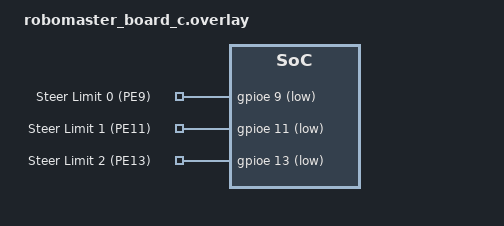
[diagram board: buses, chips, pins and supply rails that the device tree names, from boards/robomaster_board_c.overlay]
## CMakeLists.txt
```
# SPDX-License-Identifier: Apache-2.0

cmake_minimum_required(VERSION 3.20.0)
set(CMAKE_CXX_STANDARD 17)
find_package(Zephyr REQUIRED HINTS $ENV{ZEPHYR_BASE})
project(motor)

include_directories(${ZEPHYR_BASE}/include)
include_directories(${CMAKE_CURRENT_SOURCE_DIR}/include)
include_directories(${CMAKE_CURRENT_SOURCE_DIR}/dts)
target_sources(app PRIVATE
    src/main.c
    src/homing.c
    src/usb_control.c
    src/module_chassis.c
)
target_include_directories(app PRIVATE ${ZEPHYR_BASE}/include)
target_include_directories(app PRIVATE ${CMAKE_CURRENT_SOURCE_DIR}/include)
target_include_directories(app PRIVATE ${CMAKE_CURRENT_SOURCE_DIR}/dts)
```

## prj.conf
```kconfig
# 启用线程分析器
CONFIG_THREAD_ANALYZER=y
CONFIG_THREAD_ANALYZER_USE_LOG=y
CONFIG_THREAD_ANALYZER_USE_PRINTK=n
CONFIG_THREAD_NAME=y
# CONFIG_THREAD_ANALYZER_AUTO=y
# CONFIG_THREAD_ANALYZER_AUTO_INTERVAL=5
CONFIG_THREAD_ANALYZER_LOG_LEVEL_INF=y
CONFIG_THREAD_ANALYZER_AUTO_SEPARATE_CORES=n

# 启用 Shell 支持
CONFIG_SHELL=n
CONFIG_SHELL_BACKENDS=n
CONFIG_SHELL_BACKEND_SERIAL=n

# 启用 UART 控制台
CONFIG_UART_CONSOLE=y

# 禁用 SEGGER RTT
CONFIG_USE_SEGGER_RTT=n

# 启用事件支持
CONFIG_EVENTS=y

# 启用控制台支持
CONFIG_CONSOLE=y

# 启用日志系统
CONFIG_LOG=y
CONFIG_LOG_MODE_IMMEDIATE=y
CONFIG_LOG_PRINTK=y
CONFIG_LOG_BACKEND_UART=y
# CONFIG_LOG_MODE_IMMEDIATE=y

# 启用串行支持
CONFIG_SERIAL=y

# 禁用优化
CONFIG_NO_OPTIMIZATIONS=n

# 启用驱动
CONFIG_MOTOR=y
CONFIG_MOTOR_DJI=y
CONFIG_MOTOR_DM=y
CONFIG_MOTOR_LOG_LEVEL=4
CONFIG_CAN=y
CONFIG_MOTOR_INIT_PRIORITY=90

CONFIG_ARES=y
CONFIG_ARES_COMM_LIB=y
CONFIG_DUAL_PROPOSE_PROTOCOL=y
CONFIG_USB_BULK_INTERFACE=y
CONFIG_ARES_USB_VID=0x1209
CONFIG_ARES_USB_PID=0x0002
CONFIG_UDC_DRIVER_HIGH_SPEED_SUPPORT_ENABLED=n
CONFIG_USBD_MAX_SPEED_FULL=y
CONFIG_NET_BUF=y
CONFIG_USBD_LOG_LEVEL_WRN=y
CONFIG_EKF_LIB=y
CONFIG_VOFA_LIB=y

CONFIG_AUTO_PROBE_GYRO_BIAS=y

# use ASYNC uart API
CONFIG_SERIAL=y
CONFIG_UART_ASYNC_API=y
CONFIG_UART_INTERRUPT_DRIVEN=y

CONFIG_DMA=y
CONFIG_DMA_STM32=y  # STM32 DMA 驱动
CONFIG_UART_STM32=y # STM32 UART 驱动
# CONFIG_STM32_UART_DMA=y

# CONFIG_HAS_STM32CUBE=y
# CONFIG_USE_STM32_HAL_DMA=y
CONFIG_SPI=y
CONFIG_SPI_STM32=y

CONFIG_CMSIS_DSP=y
CONFIG_CMSIS_DSP_MATRIX=y
CONFIG_CMSIS_DSP_CONTROLLER=y
CONFIG_CMSIS_DSP_FASTMATH=y

CONFIG_ZBUS=y
CONFIG_ZBUS_LOG_LEVEL_OFF=y
CONFIG_ZBUS_MSG_SUBSCRIBER=y
CONFIG_ZBUS_RUNTIME_OBSERVERS=y

CONFIG_CHASSIS=y
```

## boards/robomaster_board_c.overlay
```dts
/ {
    limit_switches {
        compatible = "gpio-keys";
        limit_0: limit_0 {
            gpios = <&gpioe 9 (GPIO_ACTIVE_LOW | GPIO_PULL_UP)>;
            label = "Steer Limit 0 (PE9)";
        };
        limit_1: limit_1 {
            gpios = <&gpioe 11 (GPIO_ACTIVE_LOW | GPIO_PULL_UP)>;
            label = "Steer Limit 1 (PE11)";
        };
        limit_2: limit_2 {
            gpios = <&gpioe 13 (GPIO_ACTIVE_LOW | GPIO_PULL_UP)>;
            label = "Steer Limit 2 (PE13)";
        };
    };

    chassis: chassis {
        compatible = "ares,chassis";
        status = "okay";
        wheels = <&steerwheel1 (-405)    180>,  /* Wheel 1 */
                 <&steerwheel2   405     180>,  /* Wheel 2 */
                 <&steerwheel3     0  (-360)>;  /* Wheel 3 */
        angle-pid = <&chassis_roll_angle_pid>;
        max_linear_accel = "6.4";
        max_gyro = "20";
    };

    steerwheel {
        steerwheel1: steerwheel1 {
            #wheel-cells = <2>;
            compatible = "ares,steerwheel";
            status = "okay";
            steer-motor = <&motor_steer0>;
            wheel-motor = <&motor_wheel0>;
            wheel-radius = "0.052";
            angle-offset = "0";
        };

        steerwheel2: steerwheel2 {
            #wheel-cells = <2>;
            compatible = "ares,steerwheel";
            status = "okay";
            steer-motor = <&motor_steer1>;
            wheel-motor = <&motor_wheel1>;
            wheel-radius = "0.052";
            angle-offset = "180";
        };

        steerwheel3: steerwheel3 {
            #wheel-cells = <2>;
            compatible = "ares,steerwheel";
            status = "okay";
            steer-motor = <&motor_steer2>;
            wheel-motor = <&motor_wheel2>;
            wheel-radius = "0.052";
            angle-offset = "45";
        };
    };

    rm_motor {
        motor_steer0: motor_steer0{
            compatible = "dji,motor";
            is_m3508;
	            minor_arc;
            id = <1>;
            rx_id = <0x201>;
            tx_id = <0x200>;
            gear_ratio = "10.17647"; // 173 / 17
            status = "okay";
            can_channel = <&can1>;
            controllers = <&steer_angle_pid &steer_speed_pid>;
            capabilities = "angle", "speed";
            friction-ff-pos = "0.09";
            friction-ff-neg = "0.11";
            friction-ff-deadband-rpm = "3.0";
            torque-lpf = "0.0";
            torque-slew-per-cycle = "0.01";
        };

        motor_steer1: motor_steer1{
            compatible = "dji,motor";
            is_m3508;
	            minor_arc;
            id = <2>;
            rx_id = <0x202>;
            tx_id = <0x200>;
            gear_ratio = "10.17647"; // 173 / 17
            status = "okay";
            can_channel = <&can1>;
            controllers = <&steer_angle_pid &steer_speed_pid>;
            capabilities = "angle", "speed";
            friction-ff-pos = "0.13";
            friction-ff-neg = "0.14";
            friction-ff-deadband-rpm = "3.0";
            torque-lpf = "0.0";
            torque-slew-per-cycle = "0.01";
        };

        motor_steer2: motor_steer2{
            compatible = "dji,motor";
            is_m3508;
	            minor_arc;
            id = <3>;
            rx_id = <0x203>;
            tx_id = <0x200>;
            gear_ratio = "10.17647"; // 173 / 17
            status = "okay";
            can_channel = <&can1>;
            controllers = <&steer_angle_pid &steer_speed_pid>;
            capabilities = "angle", "speed";
            friction-ff-pos = "0.13";
            friction-ff-neg = "0.13";
            friction-ff-deadband-rpm = "3.0";
            torque-lpf = "0.0";
            torque-slew-per-cycle = "0.01";
        };
    };

    dm_motor{
        motor_wheel0: motor_wheel0{
			compatible = "dm,motor";
			id = <1>;
			rx_id = <0x1A>;
			tx_id = <0x0A>;
			v_max = "376.99";
			status = "okay";
			can_channel = <&can2>;
			controllers = <&vo_wheel1>;
			capabilities = "vo";
			t_max = "5";
			freq = <200>;
        };

        motor_wheel1: motor_wheel1{
			compatible = "dm,motor";
			id = <2>;
			rx_id = <0x1B>;
			tx_id = <0x0B>;
			v_max = "376.99";
			status = "okay";
			can_channel = <&can2>;
			controllers = <&vo_wheel2>;
			capabilities = "vo";
			t_max = "5";
			freq = <200>;
        };

        motor_wheel2: motor_wheel2{
			compatible = "dm,motor";
			id = <3>;
			rx_id = <0x1C>;
			tx_id = <0x0C>;
			v_max = "376.99";
			status = "okay";
			can_channel = <&can2>;
			controllers = <&vo_wheel3>;
			capabilities = "vo";
			t_max = "5";
            freq = <200>;
        };
    };

    pid {
        vo_wheel1: vo_wheel1 {
            compatible = "pid,single";
            k_p = "0.008";
        };

        vo_wheel2: vo_wheel2 {
            compatible = "pid,single";
            k_p = "0.006";
        };

        vo_wheel3: vo_wheel3 {
            compatible = "pid,single";
            k_p = "0.008";
        };

		steer_speed_pid: steer_speed_pid {
            compatible = "pid,single";
            #controller-cells = <0>;
            k_p = "0.08";
            k_d = "0.0";
            k_i = "0.0";
            i_max = "5.0";
            detri_lpf = "0.95";
            out_max = "4";
        };

        steer_angle_pid: steer_angle_pid {
            compatible = "pid,single";
            #controller-cells = <0>;
            k_p = "3.2";
            detri_lpf = "0.95";
        };

		chassis_roll_angle_pid: chassis_roll_angle_pid {
			#controller-cells = <0>;
			compatible = "pid,single";
			k_p = "0.09";
			k_d = "0.27";
		};
	};

    sbus0: sbus0 {
        compatible = "ares,sbus";
        status = "okay";
    };
};
```

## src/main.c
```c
/*
 * Copyright (c) 2024 ttwards <12411711@mail.sustech.edu.cn>
 *
 * SPDX-License-Identifier: Apache-2.0
 */

#include <errno.h>
#include <math.h>
#include <stdbool.h>
#include <stddef.h>
#include <string.h>

#include <zephyr/device.h>
#include <zephyr/drivers/chassis.h>
#include <zephyr/drivers/motor.h>
#include <zephyr/kernel.h>
#include <zephyr/logging/log.h>
#include <zephyr/sys/util.h>

#include <ares/board/init.h>

#include "devices.h"
#include "homing.h"
#include "module_chassis.h"
#include "usb_control.h"

LOG_MODULE_REGISTER(main, LOG_LEVEL_INF);

#define CONTROL_POLL_TIMEOUT_MS 200
#define DM_INIT_STEP_DELAY_MS 100
#define FRICTION_TUNE_ENABLED 0
#define FRICTION_TUNE_TORQUE_START 0.02f
#define FRICTION_TUNE_COARSE_STEP 0.04f
#define FRICTION_TUNE_FINE_STEP 0.01f
#define FRICTION_TUNE_TORQUE_MAX 0.30f
#define FRICTION_TUNE_FIRST_MOVE_RPM 1.0f
#define FRICTION_TUNE_STABLE_AVG_RPM 0.7f
#define FRICTION_TUNE_COARSE_MS 350
#define FRICTION_TUNE_FINE_MS 700
#define FRICTION_TUNE_VERIFY_MS 1500
#define FRICTION_TUNE_SAMPLE_MS 50
#define FRICTION_TUNE_SETTLE_MS 250
#define FRICTION_TUNE_FINAL_STOP_MS 1000
#define FRICTION_TUNE_REPEAT_COUNT 3
#define FRICTION_TUNE_FF_LOW_SCALE 0.60f
#define FRICTION_TUNE_FF_HIGH_SCALE 0.75f

static const struct device *wheel_motors[] = {
	DEVICE_DT_GET(WHEELMOTOR1_NODE),
	DEVICE_DT_GET(WHEELMOTOR2_NODE),
	DEVICE_DT_GET(WHEELMOTOR3_NODE),
};

#if FRICTION_TUNE_ENABLED
static const struct device *steer_motors[] = {
	DEVICE_DT_GET(STEERMOTOR1_NODE),
	DEVICE_DT_GET(STEERMOTOR2_NODE),
	DEVICE_DT_GET(STEERMOTOR3_NODE),
};
#endif

static bool chassis_ready;

extern const k_tid_t chassis_thread;

#if FRICTION_TUNE_ENABLED
struct friction_tune_measure {
	float max_abs_rpm;
	float avg_abs_rpm;
};

struct friction_tune_result {
	float first_move;
	float stable_move;
	bool first_found;
	bool stable_found;
};
#endif

static int init_wheel_motors(void)
{
	for (size_t i = 0; i < ARRAY_SIZE(wheel_motors); i++) {
		if (!device_is_ready(wheel_motors[i])) {
			LOG_ERR("wheel%u motor is not ready", (unsigned int)i + 1);
			return -ENODEV;
		}

		motor_control(wheel_motors[i], ENABLE_MOTOR);
		k_msleep(DM_INIT_STEP_DELAY_MS);
		motor_set_mode(wheel_motors[i], VO);
		k_msleep(DM_INIT_STEP_DELAY_MS);
		motor_set_vo(wheel_motors[i], 0.0f);
		k_msleep(DM_INIT_STEP_DELAY_MS);
		motor_control(wheel_motors[i], ENABLE_MOTOR);
		k_msleep(DM_INIT_STEP_DELAY_MS);
	}

	return 0;
}

#if FRICTION_TUNE_ENABLED
static struct friction_tune_measure friction_tune_apply_torque(const struct device *motor,
							       float torque, int hold_ms)
{
	motor_status_t status;
	struct friction_tune_measure measure = {0};
	float sum_abs_rpm = 0.0f;
	unsigned int samples = 0;
	int64_t end_time = k_uptime_get() + hold_ms;

	motor_set_torque(motor, torque);

	while (k_uptime_get() < end_time) {
		float abs_rpm;

		k_msleep(FRICTION_TUNE_SAMPLE_MS);
		if (motor_get(motor, &status) == 0) {
			abs_rpm = fabsf(status.rpm);
			measure.max_abs_rpm = MAX(measure.max_abs_rpm, abs_rpm);
			sum_abs_rpm += abs_rpm;
			samples++;
		}
	}

	motor_set_torque(motor, 0.0f);
	if (samples > 0U) {
		measure.avg_abs_rpm = sum_abs_rpm / samples;
	}

	return measure;
}

static float friction_tune_median(float values[], size_t count)
{
	for (size_t i = 0; i < count; i++) {
		for (size_t j = i + 1; j < count; j++) {
			if (values[j] < values[i]) {
				float tmp = values[i];

				values[i] = values[j];
				values[j] = tmp;
			}
		}
	}

	if (count == 0U) {
		return 0.0f;
	}

	if ((count % 2U) == 0U) {
		return (values[count / 2U - 1U] + values[count / 2U]) * 0.5f;
	}

	return values[count / 2U];
}

static struct friction_tune_result friction_tune_steer_direction_once(const struct device *motor,
								      size_t index,
								      float direction,
								      unsigned int run)
{
	const char *direction_name = direction > 0.0f ? "positive" : "negative";
	struct friction_tune_result result = {0};
	float coarse_hit = 0.0f;
	float fine_start;
	float fine_end;

	LOG_INF("friction tune steer%u %s run%u begin",
		(unsigned int)index + 1, direction_name, run);

	for (float torque = FRICTION_TUNE_TORQUE_START;
	     torque <= FRICTION_TUNE_TORQUE_MAX + 0.0001f;
	     torque += FRICTION_TUNE_COARSE_STEP) {
		float cmd_torque = direction * torque;
		struct friction_tune_measure measure;

		LOG_INF("friction tune steer%u %s coarse torque=%.3f Nm",
			(unsigned int)index + 1, direction_name, (double)cmd_torque);

		measure = friction_tune_apply_torque(motor, cmd_torque, FRICTION_TUNE_COARSE_MS);

		LOG_INF("friction tune steer%u %s coarse result torque=%.3f Nm max=%.2f avg=%.2f",
			(unsigned int)index + 1, direction_name, (double)cmd_torque,
			(double)measure.max_abs_rpm, (double)measure.avg_abs_rpm);

		k_msleep(FRICTION_TUNE_SETTLE_MS);

		if (measure.max_abs_rpm >= FRICTION_TUNE_FIRST_MOVE_RPM) {
			coarse_hit = torque;
			break;
		}
	}

	if (coarse_hit == 0.0f) {
		LOG_WRN("friction tune steer%u %s summary run=%u first_move=NOT_FOUND stable_move=NOT_FOUND limit=%.3f Nm",
			(unsigned int)index + 1, direction_name, run,
			(double)(direction * FRICTION_TUNE_TORQUE_MAX));
		goto stop;
	}

	fine_start = MAX(FRICTION_TUNE_TORQUE_START, coarse_hit - FRICTION_TUNE_COARSE_STEP);
	fine_end = coarse_hit;

	for (float torque = fine_start; torque <= fine_end + 0.0001f;
	     torque += FRICTION_TUNE_FINE_STEP) {
		float cmd_torque = direction * torque;
		struct friction_tune_measure measure;

		LOG_INF("friction tune steer%u %s fine torque=%.3f Nm",
			(unsigned int)index + 1, direction_name, (double)cmd_torque);

		measure = friction_tune_apply_torque(motor, cmd_torque, FRICTION_TUNE_FINE_MS);

		LOG_INF("friction tune steer%u %s fine result torque=%.3f Nm max=%.2f avg=%.2f",
			(unsigned int)index + 1, direction_name, (double)cmd_torque,
			(double)measure.max_abs_rpm, (double)measure.avg_abs_rpm);

		k_msleep(FRICTION_TUNE_SETTLE_MS);

		if (measure.max_abs_rpm >= FRICTION_TUNE_FIRST_MOVE_RPM) {
			result.first_move = torque;
			result.first_found = true;
			break;
		}
	}

	if (!result.first_found) {
		result.first_move = coarse_hit;
		result.first_found = true;
	}

	for (float torque = result.first_move;
	     torque <= MIN(FRICTION_TUNE_TORQUE_MAX,
			   result.first_move + FRICTION_TUNE_COARSE_STEP) +
			       0.0001f;
	     torque += FRICTION_TUNE_FINE_STEP) {
		float cmd_torque = direction * torque;
		struct friction_tune_measure measure;

		LOG_INF("friction tune steer%u %s verify torque=%.3f Nm",
			(unsigned int)index + 1, direction_name, (double)cmd_torque);

		measure = friction_tune_apply_torque(motor, cmd_torque, FRICTION_TUNE_VERIFY_MS);

		LOG_INF("friction tune steer%u %s verify result torque=%.3f Nm max=%.2f avg=%.2f",
			(unsigned int)index + 1, direction_name, (double)cmd_torque,
			(double)measure.max_abs_rpm, (double)measure.avg_abs_rpm);

		k_msleep(FRICTION_TUNE_SETTLE_MS);

		if (measure.avg_abs_rpm >= FRICTION_TUNE_STABLE_AVG_RPM) {
			result.stable_move = torque;
			result.stable_found = true;
			break;
		}
	}

	if (result.stable_found) {
		LOG_INF("friction tune steer%u %s summary run=%u first_move=%.3f Nm stable_move=%.3f Nm",
			(unsigned int)index + 1, direction_name, run,
			(double)(direction * result.first_move),
			(double)(direction * result.stable_move));
	} else {
		LOG_INF("friction tune steer%u %s summary run=%u first_move=%.3f Nm stable_move=NOT_FOUND",
			(unsigned int)index + 1, direction_name, run,
			(double)(direction * result.first_move));
	}

stop:
	motor_set_torque(motor, 0.0f);
	k_msleep(FRICTION_TUNE_FINAL_STOP_MS);
	return result;
}

static void friction_tune_steer_direction(const struct device *motor, size_t index,
					  float direction)
{
	const char *direction_name = direction > 0.0f ? "positive" : "negative";
	float stable_values[FRICTION_TUNE_REPEAT_COUNT];
	size_t valid_count = 0;
	float stable_min = 0.0f;
	float stable_max = 0.0f;

	for (unsigned int run = 1U; run <= FRICTION_TUNE_REPEAT_COUNT; run++) {
		struct friction_tune_result result =
			friction_tune_steer_direction_once(motor, index, direction, run);

		if (result.stable_found) {
			stable_values[valid_count] = result.stable_move;
			if (valid_count == 0U || result.stable_move < stable_min) {
				stable_min = result.stable_move;
			}
			if (valid_count == 0U || result.stable_move > stable_max) {
				stable_max = result.stable_move;
			}
			valid_count++;
		}
	}

	if (valid_count == 0U) {
		LOG_WRN("friction tune steer%u %s FINAL valid=0 stable_median=NOT_FOUND ff_init=NOT_FOUND",
			(unsigned int)index + 1, direction_name);
		return;
	}

	float median = friction_tune_median(stable_values, valid_count);
	float signed_median = direction * median;
	float signed_ff_low = direction * median * FRICTION_TUNE_FF_LOW_SCALE;
	float signed_ff_high = direction * median * FRICTION_TUNE_FF_HIGH_SCALE;

	LOG_INF("friction tune steer%u %s FINAL valid=%u stable_median=%.3f Nm stable_spread=%.3f Nm ff_init_60=%.3f Nm ff_init_75=%.3f Nm",
		(unsigned int)index + 1, direction_name, (unsigned int)valid_count,
		(double)signed_median, (double)(stable_max - stable_min),
		(double)signed_ff_low, (double)signed_ff_high);
}

static void friction_tune_steer_motors(void)
{
	for (size_t i = 0; i < ARRAY_SIZE(steer_motors); i++) {
		if (!device_is_ready(steer_motors[i])) {
			LOG_ERR("steer%u motor is not ready", (unsigned int)i + 1);
			continue;
		}

		friction_tune_steer_direction(steer_motors[i], i, 1.0f);
		friction_tune_steer_direction(steer_motors[i], i, -1.0f);
	}
}
#endif

void console_feedback(void *arg1, void *arg2, void *arg3)
{
	ARG_UNUSED(arg1);
	ARG_UNUSED(arg2);
	ARG_UNUSED(arg3);

	struct team_usb_packet packet;

	memset(&packet, 0, sizeof(packet));

	while (1) {
		if (!chassis_ready) {
			k_msleep(5);
			continue;
		}

		bool updated = usb_control_poll(&packet, K_MSEC(CONTROL_POLL_TIMEOUT_MS));

		module_chassis_update(&packet, updated);
	}
}

K_THREAD_DEFINE(feedback_thread, 4096, console_feedback, NULL, NULL, NULL, 2, 0, 100);

int main(void)
{
	k_thread_suspend(chassis_thread);

	board_init();

	k_sleep(K_MSEC(2000));

	if (usb_control_init() != 0) {
		LOG_WRN("Steam Deck control unavailable, chassis waits for USB");
	}

	if (homing_steer() != 0) {
		LOG_ERR("steer homing failed, chassis remains disabled");
		while (1) {
			k_sleep(K_MSEC(1000));
		}
	}

#if FRICTION_TUNE_ENABLED
	LOG_INF("friction tune mode enabled; chassis control thread remains disabled");
	friction_tune_steer_motors();
	LOG_INF("friction tune done; reset or flash normal firmware before driving");
	while (1) {
		k_sleep(K_MSEC(1000));
	}
#endif

	if (init_wheel_motors() != 0) {
		LOG_ERR("wheel motor init failed, chassis remains disabled");
		while (1) {
			k_sleep(K_MSEC(1000));
		}
	}

	k_sleep(K_MSEC(100));
	chassis_set_speed(chassis, 0.0f, 0.0f);
	chassis_set_gyro(chassis, 0.0f);
	chassis_set_static(chassis, true);
	chassis_set_enabled(chassis, true);
	k_thread_resume(chassis_thread);
	chassis_ready = true;

	while (1) {
		k_sleep(K_MSEC(500));
	}

	return 0;
}
```

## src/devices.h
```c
#ifndef DEVICES_H
#define DEVICES_H

#include <zephyr/device.h>
#include <zephyr/drivers/gpio.h>

/* Devicetree */
// #define UART_NODE DT_ALIAS(vofa)
// const struct device *uart_dev = DEVICE_DT_GET(UART_NODE);

// #define ACCEL_NODE DT_NODELABEL(bmi08x_accel)
// const struct device *accel_dev = DEVICE_DT_GET(ACCEL_NODE);

// #define GYRO_NODE DT_NODELABEL(bmi08x_gyro)
// const struct device *gyro_dev = DEVICE_DT_GET(GYRO_NODE);

#define WHEELMOTOR1_NODE DT_NODELABEL(motor_wheel0)
#define WHEELMOTOR2_NODE DT_NODELABEL(motor_wheel1)
#define WHEELMOTOR3_NODE DT_NODELABEL(motor_wheel2)

#define STEERMOTOR1_NODE DT_NODELABEL(motor_steer0)
#define STEERMOTOR2_NODE DT_NODELABEL(motor_steer1)
#define STEERMOTOR3_NODE DT_NODELABEL(motor_steer2)

#define LIMIT1_NODE DT_NODELABEL(limit_0)
#define LIMIT2_NODE DT_NODELABEL(limit_1)
#define LIMIT3_NODE DT_NODELABEL(limit_2)

#define CHASSIS_NODE DT_NODELABEL(chassis)

const struct device *wheel_motor1 = DEVICE_DT_GET(WHEELMOTOR1_NODE);
const struct device *wheel_motor2 = DEVICE_DT_GET(WHEELMOTOR2_NODE);
const struct device *wheel_motor3 = DEVICE_DT_GET(WHEELMOTOR3_NODE);

const struct device *steer_motor1 = DEVICE_DT_GET(STEERMOTOR1_NODE);
const struct device *steer_motor2 = DEVICE_DT_GET(STEERMOTOR2_NODE);
const struct device *steer_motor3 = DEVICE_DT_GET(STEERMOTOR3_NODE);

const struct device *chassis = DEVICE_DT_GET(CHASSIS_NODE);

#define SBUS_NODE DT_NODELABEL(sbus0)
const struct device *sbus = DEVICE_DT_GET(SBUS_NODE);

#endif /* DEVICES_H */
```

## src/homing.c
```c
/*
 * Copyright (c) 2024 ttwards <12411711@mail.sustech.edu.cn>
 *
 * SPDX-License-Identifier: Apache-2.0
 */

#include <errno.h>
#include <stdbool.h>
#include <stddef.h>
#include <stdint.h>
#include <zephyr/device.h>
#include <zephyr/devicetree.h>
#include <zephyr/drivers/gpio.h>
#include <zephyr/drivers/motor.h>
#include <zephyr/kernel.h>
#include <zephyr/logging/log.h>
#include <zephyr/sys/util.h>
#include "homing.h"

LOG_MODULE_REGISTER(homing, LOG_LEVEL_INF);

/* Speeds / timings ------------------------------------------------------- */
#define HOMING_EXIT_SPEED_RPM -25.0f    /* reverse out of the photogate          */
#define HOMING_SEARCH_SPEED_RPM 60.0f   /* fast search for the photogate         */
#define HOMING_PRECISE_SPEED_RPM 5.0f   /* slow precise cut-in                   */
#define HOMING_TIMEOUT_MS 8000          /* per-phase timeout                     */
#define HOMING_DWELL_MS 150             /* keep moving after the edge clears     */
#define HOMING_DEBOUNCE_MS 2            /* photogate debounce on precise cut-in  */
#define HOMING_STOP_SETTLE_MS 50        /* let the motor stop before zeroing     */
#define HOMING_ZERO_SETTLE_MS 120       /* let SET_ZERO propagate before angle 0 */
#define HOMING_LOOP_MS 2                /* state-machine tick period             */

/* Devicetree references (kept local so this file does NOT pull in devices.h,
 * whose file-scope `const struct device *` definitions would otherwise be
 * duplicated and break the link). */
static const struct gpio_dt_spec limit0 = GPIO_DT_SPEC_GET(DT_NODELABEL(limit_0), gpios);
static const struct gpio_dt_spec limit1 = GPIO_DT_SPEC_GET(DT_NODELABEL(limit_1), gpios);
static const struct gpio_dt_spec limit2 = GPIO_DT_SPEC_GET(DT_NODELABEL(limit_2), gpios);

static const struct gpio_dt_spec *limit_gpios[] = {&limit0, &limit1, &limit2};

static int configure_limit_gpios(void)
{
	for (size_t i = 0; i < ARRAY_SIZE(limit_gpios); i++) {
		const struct gpio_dt_spec *limit = limit_gpios[i];

		if (!device_is_ready(limit->port)) {
			LOG_ERR("limit%u gpio port is not ready", (unsigned int)i + 1);
			return -ENODEV;
		}

		int ret = gpio_pin_configure_dt(limit, GPIO_INPUT);
		if (ret != 0) {
			LOG_ERR("limit%u gpio configure failed: %d", (unsigned int)i + 1, ret);
			return ret;
		}
	}

	return 0;
}

enum home_phase {
	H_PREPARE,  /* enable, decide initial direction                 */
	H_BACKOUT,  /* started inside the limit: reverse until it clears */
	H_SEARCH,   /* drive forward until the limit triggers            */
	H_EXIT,     /* reverse until the limit clears again              */
	H_PRECISE,  /* slow forward until the limit triggers (debounced) */
	H_SETTLE,   /* stop, SET_ZERO, set_angle(0)                      */
	H_DONE,
	H_FAIL,
};

struct steer_unit {
	const struct device *steer_motor;
	const struct gpio_dt_spec *limit;
	const char *name;
	/* runtime homing state */
	enum home_phase phase;
	int64_t phase_start;
	int64_t dwell_until;
	bool zero_sent;
};

static struct steer_unit steer_units[] = {
	{DEVICE_DT_GET(DT_NODELABEL(motor_steer0)), &limit0, "steer1"},
	{DEVICE_DT_GET(DT_NODELABEL(motor_steer1)), &limit1, "steer2"},
	{DEVICE_DT_GET(DT_NODELABEL(motor_steer2)), &limit2, "steer3"},
};

static void stop_steer_units(void)
{
	for (size_t i = 0; i < ARRAY_SIZE(steer_units); i++) {
		if (device_is_ready(steer_units[i].steer_motor)) {
			motor_set_speed(steer_units[i].steer_motor, 0.0f);
		}
	}
}

static void home_enter(struct steer_unit *u, enum home_phase phase, int64_t now)
{
	u->phase = phase;
	u->phase_start = now;
	u->dwell_until = 0;
}

static void home_fail(struct steer_unit *u)
{
	motor_set_speed(u->steer_motor, 0.0f);
	u->phase = H_FAIL;
	LOG_ERR("%s homing timeout", u->name);
}

static bool phase_is_moving(enum home_phase p)
{
	return p == H_BACKOUT || p == H_SEARCH || p == H_EXIT || p == H_PRECISE;
}

static void home_tick(struct steer_unit *u, int64_t now)
{
	if (u->phase == H_DONE || u->phase == H_FAIL) {
		return;
	}

	/* one timeout rule for every "drive until the switch changes" phase */
	if (phase_is_moving(u->phase) && (now - u->phase_start > HOMING_TIMEOUT_MS)) {
		home_fail(u);
		return;
	}

	int at_limit = gpio_pin_get_dt(u->limit); /* 1 == on the photogate */

	switch (u->phase) {
	case H_PREPARE:
		motor_control(u->steer_motor, ENABLE_MOTOR);
		if (at_limit == 1) {
			LOG_WRN("%s starts inside limit, backing out first", u->name);
			motor_set_speed(u->steer_motor, HOMING_EXIT_SPEED_RPM);
			home_enter(u, H_BACKOUT, now);
		} else {
			motor_set_speed(u->steer_motor, HOMING_SEARCH_SPEED_RPM);
			home_enter(u, H_SEARCH, now);
		}
		break;

	case H_BACKOUT:
		if (at_limit == 0) {
			if (u->dwell_until == 0) {
				u->dwell_until = now + HOMING_DWELL_MS;
			} else if (now >= u->dwell_until) {
				motor_set_speed(u->steer_motor, HOMING_SEARCH_SPEED_RPM);
				home_enter(u, H_SEARCH, now);
			}
		} else {
			u->dwell_until = 0;
		}
		break;

	case H_SEARCH:
		if (at_limit == 1) {
			motor_set_speed(u->steer_motor, HOMING_EXIT_SPEED_RPM);
			home_enter(u, H_EXIT, now);
		}
		break;

	case H_EXIT:
		if (at_limit == 0) {
			if (u->dwell_until == 0) {
				u->dwell_until = now + HOMING_DWELL_MS;
			} else if (now >= u->dwell_until) {
				motor_set_speed(u->steer_motor, HOMING_PRECISE_SPEED_RPM);
				home_enter(u, H_PRECISE, now);
			}
		} else {
			u->dwell_until = 0;
		}
		break;

	case H_PRECISE:
		if (at_limit == 1) {
			if (u->dwell_until == 0) {
				u->dwell_until = now + HOMING_DEBOUNCE_MS;
			} else if (now >= u->dwell_until) {
				motor_set_speed(u->steer_motor, 0.0f);
				home_enter(u, H_SETTLE, now);
				u->dwell_until = now + HOMING_STOP_SETTLE_MS;
				u->zero_sent = false;
			}
		} else {
			u->dwell_until = 0; /* bounced off: keep cutting in */
		}
		break;

	case H_SETTLE:
		if (now >= u->dwell_until) {
			if (!u->zero_sent) {
				motor_control(u->steer_motor, SET_ZERO);
				u->zero_sent = true;
				u->dwell_until = now + HOMING_ZERO_SETTLE_MS;
			} else {
				motor_set_angle(u->steer_motor, 0.0f);
				u->phase = H_DONE;
				LOG_INF("%s homing done", u->name);
			}
		}
		break;

	default:
		break;
	}
}

int homing_steer(void)
{
	int64_t now = k_uptime_get();

	if (configure_limit_gpios() != 0) {
		return -ENODEV;
	}

	for (size_t i = 0; i < ARRAY_SIZE(steer_units); i++) {
		struct steer_unit *u = &steer_units[i];

		if (!device_is_ready(u->steer_motor)) {
			LOG_ERR("%s motor is not ready", u->name);
			return -ENODEV;
		}

		u->phase = H_PREPARE;
		u->phase_start = now;
		u->dwell_until = 0;
		u->zero_sent = false;
	}

	LOG_INF("homing 3 steer units in parallel");

	while (1) {
		now = k_uptime_get();
		bool all_done = true;

		for (size_t i = 0; i < ARRAY_SIZE(steer_units); i++) {
			home_tick(&steer_units[i], now);

			enum home_phase p = steer_units[i].phase;

			if (p == H_FAIL) {
				stop_steer_units();
				return -EIO;
			}
			if (p != H_DONE) {
				all_done = false;
			}
		}

		if (all_done) {
			break;
		}

		k_msleep(HOMING_LOOP_MS);
	}

	LOG_INF("all steer units homed");
	return 0;
}
```

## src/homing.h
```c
/*
 * Copyright (c) 2024 ttwards <12411711@mail.sustech.edu.cn>
 *
 * SPDX-License-Identifier: Apache-2.0
 */

#ifndef HOMING_H
#define HOMING_H

/**
 * @brief Home all three steer units to their photogate zero, in parallel.
 *
 * All three units are advanced together by a single cooperative loop, so the
 * wheels move simultaneously and each one zeroes on its own schedule. The call
 * blocks until every unit is homed, or returns an error as soon as any unit
 * fails / times out (the others are stopped on failure).
 *
 * Must be called before the chassis control loop is enabled, so that nothing
 * else writes the steer-motor setpoints while homing runs.
 *
 * @return 0 on success, negative errno on failure.
 */
int homing_steer(void);

#endif /* HOMING_H */
```

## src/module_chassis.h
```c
#ifndef MODULE_CHASSIS_H_
#define MODULE_CHASSIS_H_

#include <stdbool.h>

#include "control_packet.h"

void module_chassis_update(const struct team_usb_packet *packet, bool updated);

#endif
```

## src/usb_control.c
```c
#include <errno.h>
#include <string.h>

#include <zephyr/kernel.h>
#include <zephyr/logging/log.h>

#include <ares/ares_comm.h>
#include <ares/interface/usb/usb_bulk.h>
#include <ares/protocol/dual/dual_protocol.h>

#include "usb_control.h"

LOG_MODULE_REGISTER(usb_control, LOG_LEVEL_INF);

DUAL_PROPOSE_PROTOCOL_DEFINE(control_protocol);
ARES_BULK_INTERFACE_DEFINE(usb_bulk_interface);

static float ctrl_rx[TEAM_USB_FLOAT_NUM];
static struct team_usb_packet latest_packet;
static uint32_t ctrl_rx_count;
static sync_table_t *control_rx;

K_SEM_DEFINE(ctrl_rx_sem, 0, 1);
K_MUTEX_DEFINE(ctrl_lock);

static void control_rx_cb(int status)
{
	if (status != SYNC_PACK_STATUS_DONE) {
		return;
	}

	struct team_usb_packet packet = {0};

	memcpy(packet.raw, ctrl_rx, sizeof(packet.raw));
	team_usb_decode_buttons(&packet);

	k_mutex_lock(&ctrl_lock, K_FOREVER);
	packet.rx_count = ++ctrl_rx_count;
	latest_packet = packet;
	k_mutex_unlock(&ctrl_lock);

	k_sem_give(&ctrl_rx_sem);
}

int usb_control_init(void)
{
	int ret = ares_bind_interface(&usb_bulk_interface, &control_protocol);
	if (ret != 0) {
		LOG_ERR("failed to initialize ARES USB interface: %d", ret);
		return ret;
	}

	control_rx = dual_sync_add(&control_protocol, TEAM_USB_SYNC_ID, (uint8_t *)ctrl_rx,
				   sizeof(ctrl_rx), control_rx_cb);
	if (control_rx == NULL) {
		LOG_ERR("failed to register control sync id=0x%04x", TEAM_USB_SYNC_ID);
		return -ENOMEM;
	}

	LOG_INF("USB control ready: sync id=0x%04x payload=%d floats",
		TEAM_USB_SYNC_ID, TEAM_USB_FLOAT_NUM);
	return 0;
}

bool usb_control_poll(struct team_usb_packet *packet, k_timeout_t timeout)
{
	if (packet == NULL) {
		return false;
	}

	if (k_sem_take(&ctrl_rx_sem, timeout) != 0) {
		return false;
	}

	k_mutex_lock(&ctrl_lock, K_FOREVER);
	*packet = latest_packet;
	k_mutex_unlock(&ctrl_lock);

	return true;
}
```

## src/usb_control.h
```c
#ifndef TEAM_USB_CONTROL_H_
#define TEAM_USB_CONTROL_H_

#include <stdbool.h>

#include <zephyr/kernel.h>

#include "control_packet.h"

int usb_control_init(void);
bool usb_control_poll(struct team_usb_packet *packet, k_timeout_t timeout);

#endif
```
